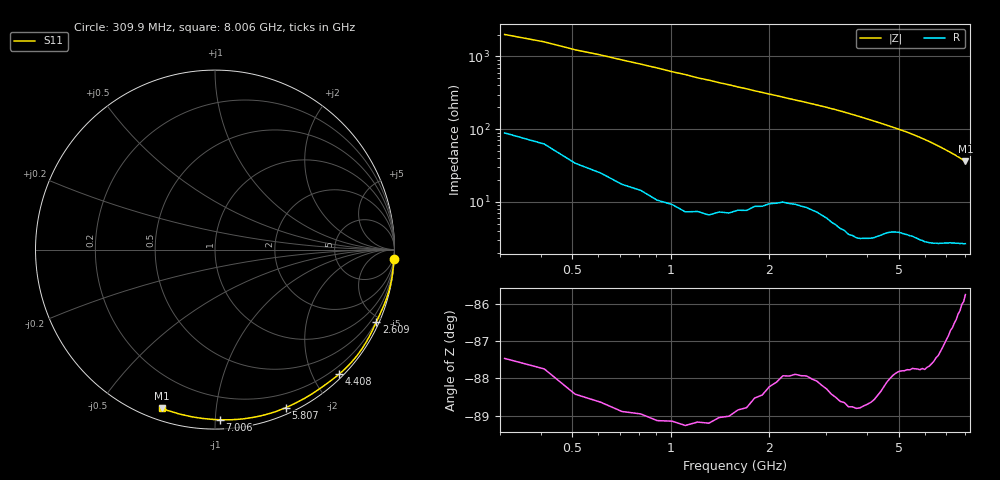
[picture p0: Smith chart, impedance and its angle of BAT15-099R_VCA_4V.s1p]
! Infineon Technologies  Discrete & RF Semiconductors
! BAT15-099R
! VCA = 4 V
! One-Port S-Parameters
# Hz  S  MA  R  50
!f  S11
!Hz  Mag  Ang
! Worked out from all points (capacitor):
!   78 points, 309.9 MHz to 8.006 GHz, reference 50 ohm
!   read as one part to ground: C = 252 fF near 309.9 MHz
!   lowest |Z| = 36.1 ohm at 8.006 GHz (marker M1)
!   S11 on the Smith chart (normalised r, x): 309.9 MHz: 2, -40; 2.609 GHz: 0.17, -4.65; 4.408 GHz: 0.07, -2.41; 5.807 GHz: 0.06, -1.54; 7.006 GHz: 0.05, -1.03; 8.006 GHz: 0.05, -0.72
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3.0985e8  0.9978 -2.8
4.098e8  0.9975 -3.6
9.0955e8  0.9978 -8.2
1.2094e9  0.9972 -11.2
1.30935e9  0.9971 -12.1
1.70915e9  0.9942 -15.8
2.30885e9  0.9869 -21.5
2.6087e9  0.9853 -24.2
3.2084e9  0.987 -30.2
3.50825e9  0.9881 -33.6
3.70815e9  0.9878 -36.0
4.2079e9  0.9833 -42.3
4.4078e9  0.9798 -45.0
4.8076e9  0.9723 -50.4
5.2074e9  0.9685 -56.0
5.50725e9  0.966 -60.7
5.8071e9  0.965 -65.8
6.007e9  0.9641 -69.3
6.10695e9  0.9627 -71.1
6.4068e9  0.9591 -76.8
6.6067e9  0.956 -80.7
6.8066e9  0.9522 -84.6
7.0065e9  0.9482 -88.5
7.10645e9  0.9466 -90.3
7.30635e9  0.9432 -94.3
7.50625e9  0.94 -98.3
7.70615e9  0.937 -102.4
8.006e9  0.932 -108.4
